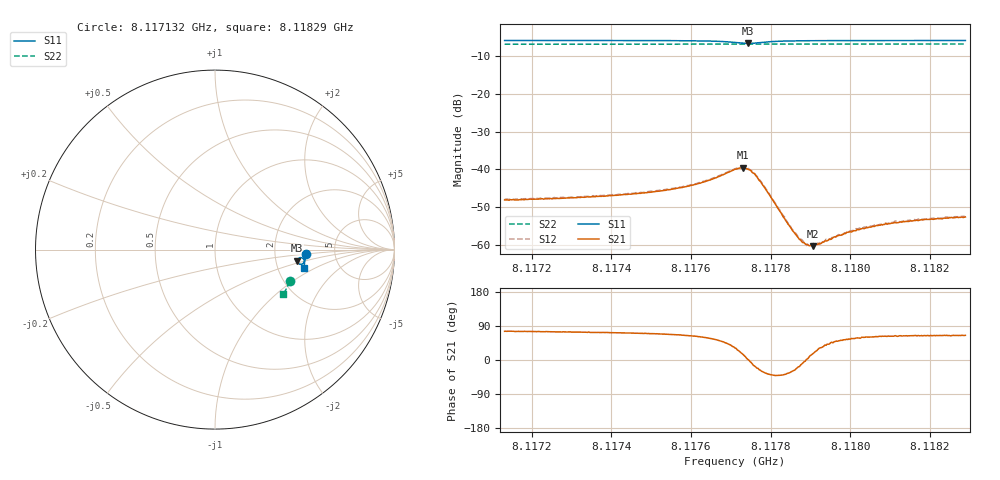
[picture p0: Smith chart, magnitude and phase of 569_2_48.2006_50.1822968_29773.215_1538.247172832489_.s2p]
#  HZ  S  RI  R  50.00
! Rohde & Schwarz Vector Network Analyzer
! Rohde-Schwarz,ZNB20-2Port,1311601062101988,3.16
! Created: UTC 3/20/2024, 12:01:36 PM
! freq[Hz]  re:S11  im:S11  re:S21  im:S21  re:S12  im:S12  re:S22  im:S22
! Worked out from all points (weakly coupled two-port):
!   401 points, 8.117132 GHz to 8.11829 GHz, reference 50 ohm
!   highest |S21| = -39.57 dB at 8.117731 GHz (marker M1); lowest = -60.3 dB at 8.117908 GHz (marker M2)
!   lowest |S11| = -6.7 dB at 8.117743 GHz (marker M3), VSWR 2.72, Z = 132 - j20.7 ohm
!   |S11| at or under -10 dB: nowhere
!   |S22| runs from -6.9 to -6.8 dB; largest |S21 - S12| = 0.00041
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8.1171316e9  0.5059 -0.0256  0.000969 0.00383  0.000998 0.00388  0.4156 -0.1772
8.1173256e9  0.5043 -0.0416  0.00121 0.00413  0.00124 0.00419  0.4105 -0.1898
8.1175196e9  0.5011 -0.0596  0.00186 0.00482  0.00193 0.00491  0.4049 -0.2024
8.1176094e9  0.4962 -0.0707  0.00288 0.00561  0.00302 0.00567  0.4022 -0.2083
8.1176586e9  0.4894 -0.0782  0.0044 0.0062  0.00452 0.00631  0.4003 -0.2114
8.1177107e9  0.4695 -0.0805  0.00857 0.00525  0.00866 0.00535  0.398 -0.2146
8.117731e9  0.4597 -0.0709  0.0102 0.00263  0.0104 0.00254  0.397 -0.215
8.1177426e9  0.4582 -0.0616  0.0101 0.000299  0.0103 0.000386  0.3968 -0.2153
8.1177541e9  0.4614 -0.0526  0.00894 -0.00162  0.00925 -0.00166  0.3965 -0.2157
8.1177715e9  0.4716 -0.0452  0.00643 -0.0031  0.00672 -0.00317  0.3968 -0.2167
8.1178468e9  0.4957 -0.0566  0.0015 -0.00102  0.00148 -0.00102  0.3953 -0.2219
8.1178671e9  0.4974 -0.0604  0.00122 -0.000461  0.00123 -0.000531  0.3948 -0.2231
8.1178758e9  0.4978 -0.0619  0.00114 -0.000267  0.00116 -0.000281  0.3944 -0.2237
8.1178902e9  0.4983 -0.0642  0.00102 2.78e-05  0.000984 1.01e-05  0.394 -0.2247
8.1179047e9  0.4986 -0.0664  0.000951 0.000255  0.000959 0.000267  0.3936 -0.2256
8.1179076e9  0.4987 -0.0666  0.000921 0.000289  0.00101 0.00029  0.3936 -0.2259
8.1179279e9  0.4989 -0.0695  0.000888 0.000571  0.000904 0.000563  0.3929 -0.2272
8.1179655e9  0.4989 -0.074  0.000831 0.000984  0.000866 0.000988  0.3916 -0.2296
8.1180176e9  0.4987 -0.0795  0.000843 0.00136  0.000886 0.00138  0.3899 -0.2329
8.1180987e9  0.4978 -0.0871  0.000883 0.00171  0.000883 0.0017  0.3871 -0.2379
8.1181769e9  0.4968 -0.0939  0.000944 0.00193  0.000934 0.00198  0.3843 -0.2428
8.1182898e9  0.495 -0.103  0.00099 0.00213  0.001 0.00213  0.3804 -0.2496
